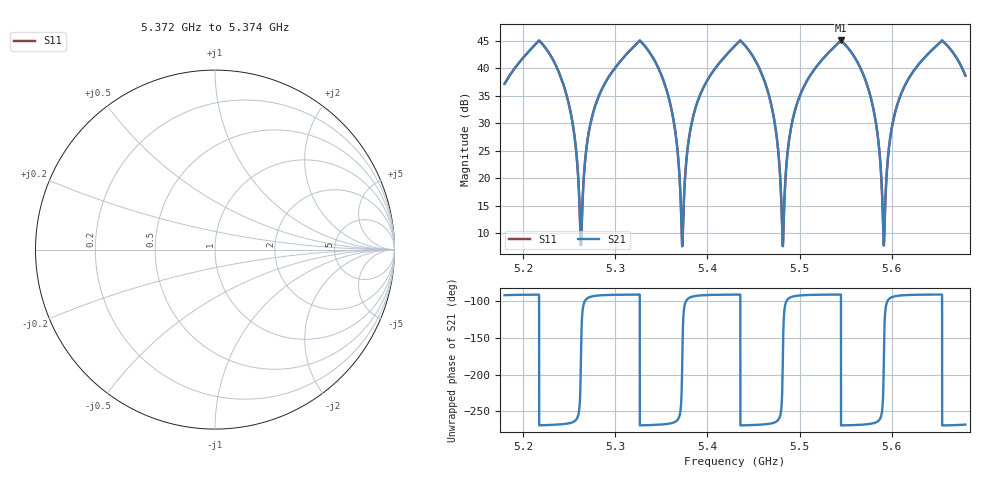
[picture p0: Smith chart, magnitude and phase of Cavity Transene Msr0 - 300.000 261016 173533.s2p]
# HZ S RI R 50
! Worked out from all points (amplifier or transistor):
!   5000 points, 5.18 GHz to 5.68 GHz, reference 50 ohm
!   highest |S21| = 45.1 dB at 5.545 GHz (marker M1)
!   |S21| within 3 dB of that: 5.636 GHz to 5.67 GHz (33.5 MHz wide, 0.593 % of centre)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
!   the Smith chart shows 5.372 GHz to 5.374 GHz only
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5.18e9  -2.043 -72.61  -2.043 -72.61  0 0  0 0
5.198804e9  -2.253 -121.5  -2.253 -121.5  0 0  0 0
5.214907e9  -2.803 -171.1  -2.803 -171.1  0 0  0 0
5.220008e9  -3.014 170.6  -3.014 170.6  0 0  0 0
5.249214e9  -3.049 49.24  -3.049 49.24  0 0  0 0
5.263417e9  -2.44 -1.963  -2.44 -1.963  0 0  0 0
5.324129e9  -2.612 -171.3  -2.612 -171.3  0 0  0 0
5.32923e9  -2.802 171  -2.802 171  0 0  0 0
5.346733e9  -3.176 101.4  -3.176 101.4  0 0  0 0
5.377039e9  -2.271 -13.78  -2.271 -13.78  0 0  0 0
5.43005e9  -2.437 -161.3  -2.437 -161.3  0 0  0 0
5.433251e9  -2.532 -171.4  -2.532 -171.4  0 0  0 0
5.438352e9  -2.699 171.1  -2.699 171.1  0 0  0 0
5.48036e9  -2.467 5.247  -2.467 5.247  0 0  0 0
5.513367e9  -1.925 -91.04  -1.925 -91.04  0 0  0 0
5.542472e9  -2.412 -171.8  -2.412 -171.8  0 0  0 0
5.544973e9  -2.485 -179.9  -2.485 -179.9  0 0  0 0
5.547574e9  -2.564 171.4  -2.564 171.4  0 0  0 0
5.596683e9  -2.295 -17.67  -2.295 -17.67  0 0  0 0
5.652194e9  -2.294 -172.1  -2.294 -172.1  0 0  0 0
5.657296e9  -2.435 171.8  -2.435 171.8  0 0  0 0
5.68e9  -2.95 86.2  -2.95 86.2  0 0  0 0
